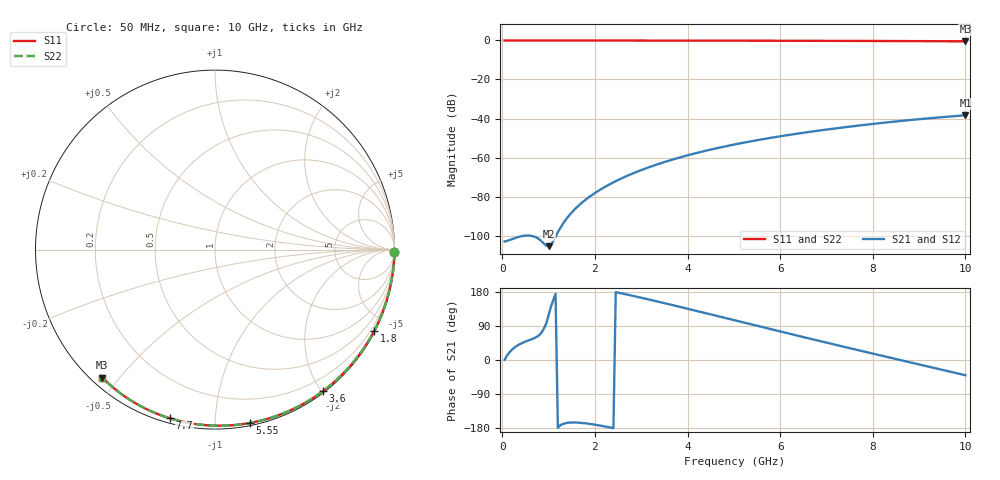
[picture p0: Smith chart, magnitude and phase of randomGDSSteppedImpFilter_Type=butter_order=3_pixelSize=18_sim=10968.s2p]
! freq	dB(S11)	phase(S11)	dB(S12)	phase(S12)
!  dB(S21)	phase(S21)	dB(S22)	phase(S22)
!S-par simulation data
#  GHz  S  DB  R 50
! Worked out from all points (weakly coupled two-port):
!   200 points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, 50 MHz to 10 GHz, reference 50 ohm
!   highest |S21| = -38.36 dB at 10 GHz (marker M1); lowest = -105.4 dB at 1 GHz (marker M2)
!   lowest |S11| = -0.4 dB at 10 GHz (marker M3), VSWR 39.26, Z = 1.53 - j22.6 ohm
!   |S11| at or under -10 dB: nowhere
!   |S22| runs from -0.4 to 0.0 dB; largest |S21 - S12| = 0
!   S11 on the Smith chart (normalised r, x): 50 MHz: open; 1.8 GHz: 0.04, -4.18; 3.6 GHz: 0.02, -2.02; 5.55 GHz: 0.02, -1.22; 7.7 GHz: 0.02, -0.77; 10 GHz: 0.03, -0.45
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0.05  -0.00 -0.8  -103.00 0.4  -103.00 0.4  -0.00 -0.8
0.5  -0.01 -7.6  -99.98 48.6  -99.98 48.6  -0.01 -7.6
1  -0.02 -15.1  -105.40 119.1  -105.40 119.1  -0.02 -15.1
1.75  -0.03 -26.2  -82.51 -166.5  -82.51 -166.5  -0.03 -26.2
1.8  -0.03 -26.9  -81.56 -167.2  -81.56 -167.2  -0.03 -26.9
1.9  -0.04 -28.4  -79.80 -168.8  -79.80 -168.8  -0.04 -28.4
2.05  -0.04 -30.6  -77.40 -171.7  -77.40 -171.7  -0.04 -30.6
2.25  -0.04 -33.5  -74.58 -176.1  -74.58 -176.1  -0.04 -33.5
2.45  -0.05 -36.4  -72.09 179.0  -72.09 179.0  -0.05 -36.4
2.65  -0.05 -39.3  -69.85 173.8  -69.85 173.8  -0.05 -39.3
3  -0.06 -44.3  -66.42 164.3  -66.42 164.3  -0.06 -44.3
3.4  -0.07 -49.9  -63.07 153.0  -63.07 153.0  -0.07 -49.9
3.6  -0.07 -52.7  -61.57 147.2  -61.57 147.2  -0.07 -52.7
4.3  -0.09 -62.2  -57.04 126.4  -57.04 126.4  -0.09 -62.2
5.05  -0.11 -72.2  -53.12 103.8  -53.12 103.8  -0.11 -72.2
5.55  -0.13 -78.7  -50.90 88.7  -50.90 88.7  -0.13 -78.7
6.1  -0.15 -85.6  -48.73 72.3  -48.73 72.3  -0.15 -85.6
6.7  -0.18 -93.0  -46.62 54.6  -46.62 54.6  -0.18 -93.0
7.7  -0.24 -105.0  -43.59 25.5  -43.59 25.5  -0.24 -105.0
8.35  -0.29 -112.6  -41.87 6.8  -41.87 6.8  -0.29 -112.6
9.15  -0.35 -121.8  -40.01 -16.0  -40.01 -16.0  -0.35 -121.8
10  -0.44 -131.4  -38.36 -40.2  -38.36 -40.2  -0.44 -131.4
